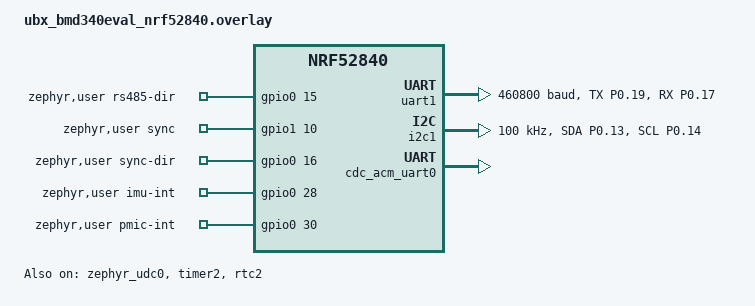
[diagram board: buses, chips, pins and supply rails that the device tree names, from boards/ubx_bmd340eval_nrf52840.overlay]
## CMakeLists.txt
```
cmake_minimum_required(VERSION 3.20.0)
find_package(Zephyr REQUIRED HINTS $ENV{ZEPHYR_BASE})

project(korora)

target_include_directories(app PRIVATE
  ${CMAKE_CURRENT_SOURCE_DIR}/../shared/include
  ${CMAKE_CURRENT_SOURCE_DIR}/src
)

target_sources(app PRIVATE
  src/main.cpp
  src/debug_log.cpp
  src/timebase.cpp
  src/controller_clock.cpp
  src/rs485_bus.cpp
  src/fairy_manager.cpp
  src/ble_gateway.cpp
  src/galapagos_manager.cpp
  src/experiment.cpp
  src/control.cpp
  src/local_sensors.cpp
  ../shared/src/sdc_anchor_report.c
  ../shared/src/transport.cpp
  ../shared/src/fairy_protocol.cpp
  ../shared/src/adelie_protocol.cpp
  ../shared/src/magellan_protocol.cpp
)

target_compile_options(app PRIVATE
  -Wall
  -Wextra
  -Wshadow
  $<$<COMPILE_LANGUAGE:CXX>:-fno-exceptions>
  $<$<COMPILE_LANGUAGE:CXX>:-fno-rtti>
)

if(DEFINED FAIRY_MAX_BOARDS)
  target_compile_definitions(app PRIVATE
    FAIRY_MAX_BOARDS=${FAIRY_MAX_BOARDS}
  )
endif()

if(DEFINED FAIRY_ENABLE_DEBUG_STREAM)
  target_compile_definitions(app PRIVATE
    FAIRY_ENABLE_DEBUG_STREAM=${FAIRY_ENABLE_DEBUG_STREAM}
  )
endif()
```

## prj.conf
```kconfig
CONFIG_CPP=y
CONFIG_STD_CPP17=y
CONFIG_GLIBCXX_LIBCPP=y

# ------------------------------------------------------------
# Console / USB CDC ACM
# ------------------------------------------------------------
CONFIG_SERIAL=y
CONFIG_CONSOLE=y
CONFIG_UART_CONSOLE=y
CONFIG_UART_LINE_CTRL=y
CONFIG_PRINTK=y
CONFIG_USB_DEVICE_STACK=y
CONFIG_USB_CDC_ACM=y
CONFIG_USB_DEVICE_INITIALIZE_AT_BOOT=y

# ------------------------------------------------------------
# Bluetooth
# ------------------------------------------------------------
CONFIG_BT=y
CONFIG_BT_CENTRAL=y
CONFIG_BT_PERIPHERAL=y
CONFIG_BT_DEVICE_NAME="korora"
CONFIG_BT_MAX_CONN=2
CONFIG_BT_GATT_CLIENT=y
CONFIG_BT_CTLR_SDC_PERIPHERAL_COUNT=1
CONFIG_BT_CTLR_SDC_CONN_ANCHOR_POINT_REPORT=y
CONFIG_BT_HCI_VS_EVT_USER=y
CONFIG_BT_RX_STACK_SIZE=6144
CONFIG_BT_L2CAP_TX_MTU=247
CONFIG_BT_BUF_ACL_RX_SIZE=251
CONFIG_BT_BUF_ACL_TX_SIZE=251
CONFIG_BT_BUF_ACL_TX_COUNT=16
CONFIG_BT_CTLR_DATA_LENGTH_MAX=251
CONFIG_BT_CTLR_PHY_2M=y
CONFIG_BT_USER_PHY_UPDATE=y
CONFIG_BT_USER_DATA_LEN_UPDATE=y
CONFIG_BT_BUF_EVT_RX_COUNT=17

# ------------------------------------------------------------
# Physical UART
#
# This is UART1 -> RS485 on the Floating Hub.
# USB CDC does NOT use UART1.
# ------------------------------------------------------------
CONFIG_UART_ASYNC_API=y
CONFIG_UART_1_INTERRUPT_DRIVEN=n
CONFIG_UART_1_ASYNC=y

# ------------------------------------------------------------
# I2C
# ------------------------------------------------------------
CONFIG_I2C=y

# ------------------------------------------------------------
# Adelie BLE link
# ------------------------------------------------------------
# Adelie is an interactive control and telemetry link.
# Ask the laptop central for a 7.5 to 15 ms interval with
# no peripheral latency.
CONFIG_BT_GAP_AUTO_UPDATE_CONN_PARAMS=y
CONFIG_BT_PERIPHERAL_PREF_MIN_INT=6
CONFIG_BT_PERIPHERAL_PREF_MAX_INT=12
CONFIG_BT_PERIPHERAL_PREF_LATENCY=0
CONFIG_BT_PERIPHERAL_PREF_TIMEOUT=200

# ------------------------------------------------------------
# Memory
# ------------------------------------------------------------
CONFIG_MAIN_STACK_SIZE=6144
CONFIG_SYSTEM_WORKQUEUE_STACK_SIZE=6144
CONFIG_HEAP_MEM_POOL_SIZE=4096

# ------------------------------------------------------------
# Debug
# ------------------------------------------------------------
CONFIG_ASSERT=y
CONFIG_LOG=n

# ------------------------------------------------------------
# GPIO / nrfx
# ------------------------------------------------------------
CONFIG_GPIO=n
CONFIG_NRFX_GPIOTE=y
CONFIG_NRFX_GPIOTE_NUM_OF_EVT_HANDLERS=2
CONFIG_NRFX_GPPI=y
CONFIG_NRFX_TIMER=y
CONFIG_NRFX_RTC=y

# ------------------------------------------------------------
# Clock
#
# Floating Hub does NOT have the BMD-340-EVAL carrier's
# external 32.768 kHz crystal.
# ------------------------------------------------------------
CONFIG_CLOCK_CONTROL=y
CONFIG_CLOCK_CONTROL_NRF=y
CONFIG_CLOCK_CONTROL_NRF_K32SRC_RC=y
CONFIG_CLOCK_CONTROL_NRF_K32SRC_500PPM=y
CONFIG_CLOCK_CONTROL_NRF_K32SRC_RC_CALIBRATION=y
```

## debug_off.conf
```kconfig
CONFIG_CONSOLE=n
CONFIG_UART_CONSOLE=n
CONFIG_PRINTK=n
```

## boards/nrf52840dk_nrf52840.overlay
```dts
#include <zephyr/dt-bindings/gpio/gpio.h>
#include <zephyr/dt-bindings/i2c/i2c.h>
#include <zephyr/dt-bindings/pinctrl/nrf-pinctrl.h>

/ {
    zephyr,user {
        sync-gpios = <&gpio1 10 GPIO_ACTIVE_LOW>;
    };
};

&pinctrl {
    fairy_uart1_default: fairy_uart1_default {
        group1 {
            psels = <NRF_PSEL(UART_TX, 0, 27)>;
        };

        group2 {
            psels = <NRF_PSEL(UART_RX, 0, 26)>;
            bias-pull-up;
        };
    };

    fairy_uart1_sleep: fairy_uart1_sleep {
        group1 {
            psels = <NRF_PSEL(UART_TX, 0, 27)>,
                    <NRF_PSEL(UART_RX, 0, 26)>;
            low-power-enable;
        };
    };

    korora_i2c1_default: korora_i2c1_default {
        group1 {
            psels = <NRF_PSEL(TWIM_SDA, 0, 30)>,
                    <NRF_PSEL(TWIM_SCL, 0, 31)>;
        };
    };

    korora_i2c1_sleep: korora_i2c1_sleep {
        group1 {
            psels = <NRF_PSEL(TWIM_SDA, 0, 30)>,
                    <NRF_PSEL(TWIM_SCL, 0, 31)>;
            low-power-enable;
        };
    };
};

&uart1 {
    compatible = "nordic,nrf-uarte";
    status = "okay";
    current-speed = <460800>;
    pinctrl-0 = <&fairy_uart1_default>;
    pinctrl-1 = <&fairy_uart1_sleep>;
    pinctrl-names = "default", "sleep";
};

/*
 * The DK's normal i2c0 mapping uses P0.26/P0.27, which are already the
 * working Fairy UART pins above. Keep that controller disabled.
 */
&i2c0 {
    status = "disabled";
};

/* i2c1 and spi1 share the same nRF peripheral instance on this DK. */
&spi1 {
    status = "disabled";
};

&i2c1 {
    compatible = "nordic,nrf-twim";
    status = "okay";
    clock-frequency = <I2C_BITRATE_STANDARD>;
    pinctrl-0 = <&korora_i2c1_default>;
    pinctrl-1 = <&korora_i2c1_sleep>;
    pinctrl-names = "default", "sleep";
};

&timer2 {
    status = "okay";
};

&timer3 {
    status = "disabled";
};

&rtc2 {
    status = "okay";
};
```

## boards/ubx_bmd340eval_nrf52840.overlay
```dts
#include <zephyr/dt-bindings/gpio/gpio.h>
#include <zephyr/dt-bindings/i2c/i2c.h>
#include <zephyr/dt-bindings/pinctrl/nrf-pinctrl.h>

/ {
    chosen {
        zephyr,console = &cdc_acm_uart0;
        zephyr,shell-uart = &cdc_acm_uart0;
        zephyr,uart-mcumgr = &cdc_acm_uart0;
    };

    zephyr,user {
        /* SN65HVD75 RS485 direction */
        rs485-dir-gpios = <&gpio0 15 GPIO_ACTIVE_HIGH>;

        /* Sync output */
        sync-gpios = <&gpio1 10 GPIO_ACTIVE_HIGH>;
        sync-dir-gpios = <&gpio0 16 GPIO_ACTIVE_HIGH>;

        /* MMC5983MA interrupt */
        imu-int-gpios = <&gpio0 28 GPIO_ACTIVE_HIGH>;

        /* nPM1300 interrupt */
        pmic-int-gpios = <&gpio0 30 GPIO_ACTIVE_HIGH>;

    };

    /**
     * These belong to the physical BMD-340-EVAL board,
     * not your Floating Hub.
     */
    leds {
        status = "disabled";
    };

    pwmleds {
        status = "disabled";
    };

    buttons {
        status = "disabled";
    };
};

&pinctrl {
    /**
     * RS485 UART
     *
     * P0.19 -> RS485_TX
     * P0.17 <- RS485_RX
     */
    floating_uart1_default: floating_uart1_default {
        group1 {
            psels = <NRF_PSEL(UART_TX, 0, 19)>;
        };

        group2 {
            psels = <NRF_PSEL(UART_RX, 0, 17)>;
            bias-pull-up;
        };
    };

    floating_uart1_sleep: floating_uart1_sleep {
        group1 {
            psels = <NRF_PSEL(UART_TX, 0, 19)>,
                    <NRF_PSEL(UART_RX, 0, 17)>;
            low-power-enable;
        };
    };

    /**
     * HOST I2C
     *
     * P0.13 -> HOST_SDA
     * P0.14 -> HOST_SCL
     */
    floating_i2c1_default: floating_i2c1_default {
        group1 {
            psels = <NRF_PSEL(TWIM_SDA, 0, 13)>,
                    <NRF_PSEL(TWIM_SCL, 0, 14)>;
        };
    };

    floating_i2c1_sleep: floating_i2c1_sleep {
        group1 {
            psels = <NRF_PSEL(TWIM_SDA, 0, 13)>,
                    <NRF_PSEL(TWIM_SCL, 0, 14)>;
            low-power-enable;
        };
    };
};

/**
 * Hardware UART -> RS485 transceiver
 */
&uart1 {
    compatible = "nordic,nrf-uarte";
    status = "okay";
    current-speed = <460800>;
    pinctrl-0 = <&floating_uart1_default>;
    pinctrl-1 = <&floating_uart1_sleep>;
    pinctrl-names = "default", "sleep";
};

/**
 * HOST I2C bus
 *
 * nPM1300 + magnetometer are physically on this bus.
 */
&i2c1 {
    compatible = "nordic,nrf-twim";
    status = "okay";
    clock-frequency = <I2C_BITRATE_STANDARD>;
    pinctrl-0 = <&floating_i2c1_default>;
    pinctrl-1 = <&floating_i2c1_sleep>;
    pinctrl-names = "default", "sleep";
};

/**
 * Peripheral conflicts inherited from BMD-340-EVAL.
 */
&uart0 {
    status = "disabled";
};
&i2c0 {
    status = "disabled";
};
&spi1 {
    status = "disabled";
};
&qspi {
    status = "disabled";
};
&pwm0 {
    status = "disabled";
};
&spi3 {
    status = "disabled";
};

/**
 * Native USB device controller.
 *
 * D+ / D- are dedicated nRF52840 pins, so no pinctrl is needed.
 */
&zephyr_udc0 {
    status = "okay";

    cdc_acm_uart0: cdc_acm_uart0 {
        compatible = "zephyr,cdc-acm-uart";
    };
};

&timer2 {
    status = "okay";
};
&timer3 {
    status = "disabled";
};
&rtc2 {
    status = "okay";
};
```

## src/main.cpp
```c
#include <zephyr/kernel.h>

#include "ble_gateway.hpp"
#include "control.hpp"
#include "debug_log.hpp"
#include "experiment.hpp"
#include "fairy_manager.hpp"
#include "galapagos_manager.hpp"
#include "local_sensors.hpp"
#include "rs485_bus.hpp"
#include "timebase.hpp"

namespace {

bool start_component(const char *name, int result) {
  korora_debug::log("START component=%s status=%d\r\n", name, result);
  return result == 0;
}

} // namespace

int main() {
  if (!start_component("timebase", korora_time::initialize()) ||
      !start_component("rs485", korora_rs485::initialize())) {
    return 1;
  }

  korora_galapagos::initialize();
  korora_control::initialize();
  korora_experiment::initialize();

  if (!start_component("fairies", korora_fairies::initialize()) ||
      !start_component("ble", korora_ble::initialize())) {
    return 1;
  }

  // Local sensors deliberately start after BLE so their Fairy telemetry has a
  // transport available immediately. Sensor absence is reported as status and
  // does not make Korora unusable as a communications hub.
  if (!start_component("local_sensors", korora_local_sensors::initialize())) {
    return 1;
  }

  // D3 is driven by nPM1300 LED0 and is reserved as a trustworthy
  // firmware-owned "all startup stages completed" indicator.
  if (!korora_local_sensors::set_ready_led(true)) {
    korora_debug::log("READY_LED unavailable\r\n");
  }

  korora_debug::log(
      "READY transport=1 fairy=3 adelie=2 magellan=1 timer_hz=16000000 "
      "sync_hz=4\r\n");
  while (true) {
    k_sleep(K_SECONDS(60));
  }
  return 0;
}
```

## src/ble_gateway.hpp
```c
#pragma once

#include <cstddef>
#include <cstdint>

#include "fairy_shared/transport.hpp"

namespace korora_ble {

int initialize();

// Use diagnostic_priority for time-critical Fairy records. They share the
// reserved Adelie event queue and can preempt bulk telemetry between fragments.
bool send_to_adelie(std::uint8_t source, fairy::transport::Channel channel,
                    const std::uint8_t *payload, std::size_t payload_length,
                    std::uint16_t transfer_id = 0, std::uint8_t flags = 0,
                    std::uint64_t command_receive_ticks = 0,
                    bool diagnostic_priority = false);

bool send_to_galapagos(fairy::transport::Channel channel,
                       const std::uint8_t *payload, std::size_t payload_length,
                       std::uint16_t transfer_id = 0,
                       std::uint8_t flags = fairy::transport::ack_required);

bool adelie_connected();
bool galapagos_connected();
std::int8_t galapagos_rssi();
std::uint32_t dropped_to_adelie();
std::uint32_t dropped_to_galapagos();

} // namespace korora_ble
```

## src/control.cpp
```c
#include "control.hpp"

#include <array>
#include <cstring>

#include <zephyr/kernel.h>
#include <zephyr/sys/atomic.h>

#include "ble_gateway.hpp"
#include "experiment.hpp"
#include "fairy_manager.hpp"
#include "fairy_shared/adelie_protocol.hpp"
#include "fairy_shared/fairy_protocol.hpp"
#include "fairy_shared/system_config.hpp"
#include "fairy_shared/tlv.hpp"
#include "galapagos_manager.hpp"
#include "local_sensors.hpp"
#include "rs485_bus.hpp"
#include "timebase.hpp"

namespace korora_control {
namespace {

inline constexpr std::uint32_t diagnostic_session = 0x53594E43U;

atomic_t session_id;
bool diagnostic_session_active;
k_mutex control_mutex;

bool command_u8(const fairy::protocol::AdelieMessageView &message,
                fairy::protocol::CommandField wanted, std::uint8_t &value) {
  fairy::protocol::TlvReader reader(message.payload,
                                    message.header.payload_length);
  fairy::protocol::FieldView field;
  while (reader.next(field)) {
    if (field.tag == static_cast<std::uint16_t>(wanted)) {
      return fairy::protocol::TlvReader::as_u8(field, value);
    }
  }
  return false;
}

bool command_u32(const fairy::protocol::AdelieMessageView &message,
                 fairy::protocol::CommandField wanted, std::uint32_t &value) {
  fairy::protocol::TlvReader reader(message.payload,
                                    message.header.payload_length);
  fairy::protocol::FieldView field;
  while (reader.next(field)) {
    if (field.tag == static_cast<std::uint16_t>(wanted)) {
      return fairy::protocol::TlvReader::as_u32(field, value);
    }
  }
  return false;
}

bool command_bytes(const fairy::protocol::AdelieMessageView &message,
                   fairy::protocol::CommandField wanted,
                   const std::uint8_t *&value, std::size_t &length) {
  fairy::protocol::TlvReader reader(message.payload,
                                    message.header.payload_length);
  fairy::protocol::FieldView field;
  while (reader.next(field)) {
    if (field.tag == static_cast<std::uint16_t>(wanted) &&
        field.type == fairy::protocol::ValueType::bytes) {
      value = field.value;
      length = field.length;
      return true;
    }
  }
  return false;
}

void send_response(const fairy::protocol::AdelieMessageView &command,
                   fairy::protocol::Status status, std::uint16_t transfer_id,
                   const std::uint8_t *payload = nullptr,
                   std::size_t payload_length = 0,
                   std::uint64_t receive_ticks = 0) {
  fairy::protocol::MessageHeader header = command.header;
  header.kind = fairy::protocol::MessageKind::response;
  header.status = status;
  header.flags = 0;
  header.execute_at_ticks = 0;
  header.payload_length = 0;
  std::uint8_t response[fairy::protocol::adelie_max_message_size]{};
  const std::size_t length = fairy::protocol::encode_adelie(
      header, payload, payload_length, response, sizeof(response));
  if (length != 0U) {
    (void)korora_ble::send_to_adelie(fairy::config::korora_address,
                                     fairy::transport::Channel::adelie,
                                     response, length, transfer_id,
                                     fairy::transport::response, receive_ticks);
  }
}

std::size_t make_session_command(fairy::protocol::Opcode opcode,
                                 std::uint32_t session,
                                 std::uint8_t *destination,
                                 std::size_t capacity) {
  fairy::protocol::MessageHeader header;
  header.opcode = opcode;
  header.flags =
      fairy::protocol::require_response | fairy::protocol::execute_immediately;
  header.command_id =
      static_cast<std::uint32_t>(korora_time::now() & 0xFFFF'FFFFULL);
  header.session_id = session;
  header.deadline_ms = 2000;
  return fairy::protocol::encode_adelie(header, nullptr, 0, destination,
                                        capacity);
}

void propagate_session(fairy::protocol::Opcode opcode, std::uint32_t session) {
  std::uint8_t message[fairy::protocol::adelie_max_message_size]{};
  const std::size_t length =
      make_session_command(opcode, session, message, sizeof(message));
  if (length == 0U) {
    return;
  }
  korora_fairies::queue_command_for_all(message, length);
  (void)korora_ble::send_to_galapagos(fairy::transport::Channel::adelie,
                                      message, length);
}

bool every_fairy_assigned() {
  const std::size_t total = korora_fairies::count();
  if (total == 0U) {
    return false;
  }
  for (std::size_t index = 0; index < total; ++index) {
    korora_fairies::NodeSnapshot node;
    if (!korora_fairies::snapshot(index, node) || node.logical_slot == 0xFFU) {
      return false;
    }
  }
  return true;
}

fairy::protocol::Status begin_session(std::uint32_t wanted,
                                      bool require_synchronization) {
  if (wanted == 0U || !every_fairy_assigned()) {
    return wanted == 0U ? fairy::protocol::Status::invalid_parameter
                        : fairy::protocol::Status::inventory_mismatch;
  }
  if (!korora_ble::galapagos_connected()) {
    return fairy::protocol::Status::transport_error;
  }
  if (require_synchronization) {
    for (std::size_t index = 0; index < korora_fairies::count(); ++index) {
      korora_fairies::NodeSnapshot node;
      if (!korora_fairies::snapshot(index, node) || !node.synchronized) {
        return fairy::protocol::Status::not_synchronized;
      }
    }
    if (!korora_galapagos::quality().valid) {
      return fairy::protocol::Status::not_synchronized;
    }
  }
  const std::uint32_t current =
      static_cast<std::uint32_t>(atomic_get(&session_id));
  if (current != 0U && current != wanted) {
    return fairy::protocol::Status::busy;
  }
  atomic_set(&session_id, static_cast<atomic_val_t>(wanted));
  korora_experiment::set_session(wanted);
  korora_local_sensors::set_session(wanted);
  propagate_session(fairy::protocol::Opcode::start_session, wanted);
  return fairy::protocol::Status::accepted;
}

void end_session(std::uint32_t ended) {
  korora_experiment::stop_sync_test();
  korora_experiment::stop_ttl_train();
  propagate_session(fairy::protocol::Opcode::stop_session, ended);
  korora_experiment::set_session(0);
  korora_local_sensors::set_session(0);
  atomic_clear(&session_id);
  diagnostic_session_active = false;
}

void handle_local(const fairy::protocol::AdelieMessageView &command,
                  std::uint16_t transfer_id, std::uint64_t receive_ticks) {
  fairy::protocol::Status status = fairy::protocol::Status::ok;
  std::uint8_t response_payload[fairy::protocol::adelie_max_payload]{};
  fairy::protocol::TlvWriter response_fields(response_payload,
                                             sizeof(response_payload));

  switch (command.header.opcode) {
  case fairy::protocol::Opcode::ping:
    break;

  case fairy::protocol::Opcode::get_inventory: {
    std::uint8_t inventory[fairy::config::max_fairies * 18U]{};
    const std::size_t length =
        korora_fairies::inventory_bytes(inventory, sizeof(inventory));
    if (length != 0U) {
      (void)response_fields.bytes(
          static_cast<std::uint16_t>(fairy::protocol::CommandField::uuid_list),
          inventory, static_cast<std::uint8_t>(length));
    }
    break;
  }

  case fairy::protocol::Opcode::apply_inventory: {
    const std::uint8_t *packed{};
    std::size_t length{};
    if (!command_bytes(command, fairy::protocol::CommandField::uuid_list,
                       packed, length)) {
      status = fairy::protocol::Status::invalid_parameter;
    } else {
      status = korora_fairies::apply_inventory(packed, length);
    }
    break;
  }

  case fairy::protocol::Opcode::get_health: {
    (void)response_fields.u32(
        static_cast<std::uint16_t>(fairy::protocol::Field::transport_errors),
        korora_rs485::errors());
    (void)response_fields.u32(
        static_cast<std::uint16_t>(fairy::protocol::Field::retry_count),
        korora_rs485::retries());
    (void)response_fields.i32(
        static_cast<std::uint16_t>(fairy::protocol::Field::rssi_dbm),
        korora_ble::galapagos_rssi());
    (void)response_fields.u8(
        static_cast<std::uint16_t>(fairy::protocol::Field::state),
        korora_ble::galapagos_connected() ? 1U : 0U);
    const auto sensors = korora_local_sensors::snapshot();
    (void)response_fields.u8(
        static_cast<std::uint16_t>(fairy::protocol::Field::sensor_status),
        sensors.status);
    (void)response_fields.u32(
        static_cast<std::uint16_t>(fairy::protocol::Field::sample_count),
        sensors.sample_count);
    (void)response_fields.u32(
        static_cast<std::uint16_t>(fairy::protocol::Field::sensor_i2c_errors),
        sensors.i2c_errors);
    break;
  }

  case fairy::protocol::Opcode::set_telemetry: {
    std::uint8_t raw{};
    if (!command_u8(command, fairy::protocol::CommandField::telemetry_level,
                    raw) ||
        raw >
            static_cast<std::uint8_t>(fairy::protocol::TelemetryLevel::full)) {
      status = fairy::protocol::Status::invalid_parameter;
    } else {
      const auto level = static_cast<fairy::protocol::TelemetryLevel>(raw);
      korora_fairies::set_telemetry(level);
      korora_local_sensors::set_telemetry(level);
    }
    break;
  }

  case fairy::protocol::Opcode::set_status_led: {
    std::uint8_t led_index{};
    std::uint8_t enabled{};
    if (!command_u8(command, fairy::protocol::CommandField::led_index,
                    led_index) ||
        !command_u8(command, fairy::protocol::CommandField::enabled, enabled) ||
        led_index < 1U || led_index > 2U || enabled > 1U) {
      status = fairy::protocol::Status::invalid_parameter;
    } else {
      // Protocol/UI uses schematic labels D1/D2. Hardware channels are
      // D1 -> nPM LED2 and D2 -> nPM LED1. D3/nPM LED0 is reserved READY.
      const std::uint8_t pmic_led_index = 3U - led_index;
      if (!korora_local_sensors::set_status_led(pmic_led_index,
                                                 enabled != 0U)) {
        status = fairy::protocol::Status::invalid_state;
      }
    }
    break;
  }

  case fairy::protocol::Opcode::clock_exchange:
    (void)response_fields.u64(
        static_cast<std::uint16_t>(
            fairy::protocol::CommandField::clock_t2_ticks),
        receive_ticks);
    (void)response_fields.u64(
        static_cast<std::uint16_t>(
            fairy::protocol::CommandField::clock_t3_ticks),
        korora_time::now());
    break;

  case fairy::protocol::Opcode::start_session:
    status = begin_session(command.header.session_id, true);
    break;

  case fairy::protocol::Opcode::stop_session: {
    const std::uint32_t current =
        static_cast<std::uint32_t>(atomic_get(&session_id));
    if (current != 0U && command.header.session_id != current) {
      status = fairy::protocol::Status::session_mismatch;
    } else if (current != 0U) {
      end_session(current);
    }
    break;
  }

  case fairy::protocol::Opcode::start_ttl_train: {
    std::uint32_t frequency{};
    std::uint32_t width{};
    std::uint32_t count{};
    if (!command_u32(command,
                     fairy::protocol::CommandField::ttl_frequency_millihz,
                     frequency) ||
        !command_u32(command, fairy::protocol::CommandField::ttl_width_us,
                     width)) {
      status = fairy::protocol::Status::invalid_parameter;
    } else {
      (void)command_u32(command, fairy::protocol::CommandField::ttl_count,
                        count);
      bool opened_diagnostic_session = false;
      if (atomic_get(&session_id) == 0) {
        status = begin_session(diagnostic_session, false);
        opened_diagnostic_session = status == fairy::protocol::Status::accepted;
        if (opened_diagnostic_session) {
          diagnostic_session_active = true;
        }
      }
      if (status == fairy::protocol::Status::ok ||
          status == fairy::protocol::Status::accepted) {
        if (korora_experiment::start_ttl_train(frequency, width, count)) {
          status = fairy::protocol::Status::accepted;
        } else {
          status = fairy::protocol::Status::invalid_state;
          if (opened_diagnostic_session) {
            end_session(diagnostic_session);
          }
        }
      }
    }
    break;
  }

  case fairy::protocol::Opcode::stop_ttl_train:
    korora_experiment::stop_ttl_train();
    if (diagnostic_session_active && !korora_experiment::sync_test_active()) {
      end_session(diagnostic_session);
    }
    break;

  case fairy::protocol::Opcode::start_sync_test: {
    std::uint32_t interval = 5000;
    std::uint32_t width = 100;
    (void)command_u32(command,
                      fairy::protocol::CommandField::test_command_interval_ms,
                      interval);
    (void)command_u32(command, fairy::protocol::CommandField::ttl_width_us,
                      width);
    if (atomic_get(&session_id) == 0) {
      status = begin_session(diagnostic_session, false);
      diagnostic_session_active = status == fairy::protocol::Status::accepted;
    }
    if ((status == fairy::protocol::Status::ok ||
         status == fairy::protocol::Status::accepted) &&
        !korora_experiment::start_sync_test(interval, width)) {
      status = fairy::protocol::Status::invalid_parameter;
    } else if (status == fairy::protocol::Status::ok) {
      status = fairy::protocol::Status::accepted;
    }
    break;
  }

  case fairy::protocol::Opcode::stop_sync_test:
    korora_experiment::stop_sync_test();
    if (diagnostic_session_active) {
      end_session(diagnostic_session);
    }
    break;

  default:
    status = fairy::protocol::Status::unsupported;
    break;
  }

  send_response(command, status, transfer_id, response_payload,
                response_fields.size(), receive_ticks);
}

} // namespace

void initialize() {
  k_mutex_init(&control_mutex);
  atomic_clear(&session_id);
  diagnostic_session_active = false;
}

void receive_from_adelie(const fairy::transport::MessageView &message,
                         std::uint64_t receive_ticks) {
  fairy::protocol::AdelieMessageView command;
  if (!fairy::protocol::decode_adelie(message.payload, message.payload_length,
                                      command) ||
      command.header.kind != fairy::protocol::MessageKind::command) {
    return;
  }

  k_mutex_lock(&control_mutex, K_FOREVER);
  if (message.destination == fairy::config::korora_address) {
    handle_local(command, message.transfer_id, receive_ticks);
  } else if (message.destination == fairy::config::galapagos_address) {
    if (!korora_ble::send_to_galapagos(fairy::transport::Channel::adelie,
                                       message.payload, message.payload_length,
                                       message.transfer_id, message.flags)) {
      send_response(command, fairy::protocol::Status::transport_error,
                    message.transfer_id, nullptr, 0, receive_ticks);
    }
  } else if (fairy::config::is_fairy_address(message.destination) ||
             fairy::config::is_discovery_address(message.destination)) {
    if (!korora_fairies::queue_command(message.destination, message.payload,
                                       message.payload_length,
                                       message.transfer_id)) {
      send_response(command, fairy::protocol::Status::queue_full,
                    message.transfer_id, nullptr, 0, receive_ticks);
    }
  } else if (message.destination == fairy::config::broadcast_address) {
    korora_fairies::queue_command_for_all(message.payload,
                                          message.payload_length);
    (void)korora_ble::send_to_galapagos(fairy::transport::Channel::adelie,
                                        message.payload,
                                        message.payload_length);
    send_response(command, fairy::protocol::Status::accepted,
                  message.transfer_id, nullptr, 0, receive_ticks);
  } else {
    send_response(command, fairy::protocol::Status::invalid_parameter,
                  message.transfer_id, nullptr, 0, receive_ticks);
  }
  k_mutex_unlock(&control_mutex);
}

void adelie_disconnected() {
  k_mutex_lock(&control_mutex, K_FOREVER);
  const std::uint32_t current =
      static_cast<std::uint32_t>(atomic_get(&session_id));
  if (current != 0U) {
    end_session(current);
  }
  k_mutex_unlock(&control_mutex);
}

void dependency_disconnected(const char *reason) {
  k_mutex_lock(&control_mutex, K_FOREVER);
  const std::uint32_t current =
      static_cast<std::uint32_t>(atomic_get(&session_id));
  if (current != 0U) {
    korora_experiment::publish_fault(reason);
    end_session(current);
  }
  k_mutex_unlock(&control_mutex);
}

std::uint32_t active_session() {
  return static_cast<std::uint32_t>(atomic_get(&session_id));
}

} // namespace korora_control
```

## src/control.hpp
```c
#pragma once

#include <cstdint>

#include "fairy_shared/transport.hpp"

namespace korora_control {

void initialize();
void receive_from_adelie(const fairy::transport::MessageView &message,
                         std::uint64_t receive_ticks);
void adelie_disconnected();
void dependency_disconnected(const char *reason);
std::uint32_t active_session();

} // namespace korora_control
```

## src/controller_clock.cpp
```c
#include "controller_clock.hpp"

#include <cerrno>

#include <hal/nrf_rtc.h>
#include <nrfx_rtc.h>

#include <zephyr/irq.h>
#include <zephyr/kernel.h>
#include <zephyr/sys/barrier.h>

#include "debug_log.hpp"
#include "timebase.hpp"

namespace korora_controller_clock {
namespace {

inline constexpr std::uint64_t rtc_tick_femtoseconds = 30'517'578'125ULL;
inline constexpr std::uint64_t rtc_overflow_us = 512'000'000ULL;

nrfx_rtc_t application_rtc = NRFX_RTC_INSTANCE(NRF_RTC_INST_GET(2));
volatile std::uint32_t rtc_overflows;
std::int32_t controller_offset;
fairy::time::AffineClockModel<16> bridge;
k_mutex bridge_mutex;
K_SEM_DEFINE(start_sem, 0, 1);

std::uint64_t rtc_to_us(std::uint32_t ticks) {
  return static_cast<std::uint64_t>(ticks) * rtc_tick_femtoseconds /
         1'000'000'000ULL;
}

void rtc_handler(nrf_rtc_event_t event, void *) {
  if (event == NRF_RTC_EVENT_OVERFLOW) {
    ++rtc_overflows;
  }
}

std::int32_t measure_offset() {
  std::uint32_t difference = (nrf_rtc_counter_get(NRF_RTC0) -
                              nrf_rtc_counter_get(application_rtc.p_reg)) &
                             0x00FF'FFFFU;
  if ((difference & 0x0080'0000U) != 0U) {
    difference |= 0xFF00'0000U;
  }
  return static_cast<std::int32_t>(difference);
}

std::uint64_t controller_us() {
  std::uint32_t overflows;
  std::uint32_t ticks;
  do {
    overflows = rtc_overflows;
    barrier_isync_fence_full();
    ticks = nrf_rtc_counter_get(application_rtc.p_reg);
    barrier_isync_fence_full();
  } while (overflows != rtc_overflows);
  const std::int64_t base =
      static_cast<std::int64_t>(rtc_to_us(ticks)) +
      static_cast<std::int64_t>(overflows * rtc_overflow_us);
  const std::int64_t offset_us =
      static_cast<std::int64_t>(controller_offset) *
      static_cast<std::int64_t>(rtc_tick_femtoseconds) / 1'000'000'000LL;
  const std::int64_t result = base + offset_us;
  return result < 0 ? 0U : static_cast<std::uint64_t>(result);
}

void sample_thread(void *, void *, void *) {
  k_sem_take(&start_sem, K_FOREVER);
  while (true) {
    k_sleep(K_MSEC(250));
    const std::uint64_t before = korora_time::now();
    const std::uint64_t controller_ticks = controller_us() * 16ULL;
    const std::uint64_t after = korora_time::now();
    if (after < before || after - before > 32'000ULL) {
      continue;
    }
    const std::uint64_t midpoint = before + (after - before) / 2ULL;
    k_mutex_lock(&bridge_mutex, K_FOREVER);
    (void)bridge.add(controller_ticks, midpoint);
    k_mutex_unlock(&bridge_mutex);
  }
}

K_THREAD_DEFINE(sample_thread_id, 1536, sample_thread, nullptr, nullptr,
                nullptr, 8, 0, 0);

} // namespace

int initialize() {
  k_mutex_init(&bridge_mutex);
  bridge.set_admission(3200.0, 6.0, 3);
  nrfx_rtc_config_t config = NRFX_RTC_DEFAULT_CONFIG;
  int error = nrfx_rtc_init(&application_rtc, &config, rtc_handler);
  if (error != 0) {
    return error;
  }
  IRQ_CONNECT(NRFX_IRQ_NUMBER_GET(NRF_RTC_INST_GET(2)), IRQ_PRIO_LOWEST,
              nrfx_rtc_irq_handler, &application_rtc, 0);
  nrfx_rtc_overflow_enable(&application_rtc, true);
  nrfx_rtc_tick_enable(&application_rtc, false);
  nrfx_rtc_enable(&application_rtc);

  for (unsigned int attempt = 0; attempt < 10; ++attempt) {
    const std::int32_t first = measure_offset();
    k_busy_wait(15);
    const std::int32_t second = measure_offset();
    if (first == second) {
      controller_offset = first;
      k_sem_give(&start_sem);
      return 0;
    }
  }
  return -EIO;
}

bool to_korora(std::uint64_t controller_ticks, std::uint64_t &korora_ticks) {
  const std::uint64_t raw_us = controller_ticks / 16ULL;
  const std::uint64_t near_us = controller_us();
  std::uint64_t extended_us =
      (near_us & ~0xFFFF'FFFFULL) | (raw_us & 0xFFFF'FFFFULL);
  if (extended_us + 0x8000'0000ULL < near_us) {
    extended_us += 0x1'0000'0000ULL;
  } else if (extended_us > near_us + 0x8000'0000ULL &&
             extended_us >= 0x1'0000'0000ULL) {
    extended_us -= 0x1'0000'0000ULL;
  }
  k_mutex_lock(&bridge_mutex, K_FOREVER);
  const bool result = bridge.predict(extended_us * 16ULL, korora_ticks);
  k_mutex_unlock(&bridge_mutex);
  return result;
}

fairy::time::ClockQuality quality() {
  k_mutex_lock(&bridge_mutex, K_FOREVER);
  const auto result = bridge.quality();
  k_mutex_unlock(&bridge_mutex);
  return result;
}

} // namespace korora_controller_clock
```

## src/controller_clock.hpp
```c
#pragma once

#include <cstdint>

#include "fairy_shared/clock_model.hpp"

namespace korora_controller_clock {

int initialize();
bool to_korora(std::uint64_t controller_ticks, std::uint64_t &korora_ticks);
fairy::time::ClockQuality quality();

} // namespace korora_controller_clock
```

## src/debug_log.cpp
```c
#include "debug_log.hpp"

#include <cstdarg>

#include <zephyr/kernel.h>
#include <zephyr/sys/printk.h>

#include "fairy_shared/system_config.hpp"

namespace korora_debug {
namespace {

struct Line {
  char text[224];
};

K_MSGQ_DEFINE(lines, sizeof(Line), 24, 4);

void thread(void *, void *, void *) {
  Line line;
  while (true) {
    k_msgq_get(&lines, &line, K_FOREVER);
#if FAIRY_ENABLE_DEBUG_STREAM
    printk("%s", line.text);
#endif
  }
}

K_THREAD_DEFINE(debug_thread_id, 1536, thread, nullptr, nullptr, nullptr, 10, 0,
                0);

} // namespace

void log(const char *format, ...) {
#if FAIRY_ENABLE_DEBUG_STREAM
  Line line{};
  va_list arguments;
  va_start(arguments, format);
  const int length = vsnprintk(line.text, sizeof(line.text), format, arguments);
  va_end(arguments);
  if (length > 0 && length < static_cast<int>(sizeof(line.text))) {
    (void)k_msgq_put(&lines, &line, K_NO_WAIT);
  }
#else
  (void)format;
#endif
}

} // namespace korora_debug
```

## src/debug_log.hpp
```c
#pragma once

namespace korora_debug {

void log(const char *format, ...);

} // namespace korora_debug
```

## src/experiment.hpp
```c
#pragma once

#include <cstdint>

#include "fairy_shared/adelie_protocol.hpp"

namespace korora_experiment {

void initialize();
void adelie_connected();
void publish_fault(const char *reason);
void set_session(std::uint32_t session_id);

bool start_ttl_train(std::uint32_t frequency_millihz, std::uint32_t width_us,
                     std::uint32_t count);
void stop_ttl_train();

bool start_sync_test(std::uint32_t command_interval_ms, std::uint32_t width_us);
void stop_sync_test();
bool sync_test_active();

void note_galapagos_ttl(std::uint32_t sequence,
                        std::uint64_t local_actual_ticks,
                        std::uint64_t korora_actual_ticks);
void note_galapagos_ttl_status(std::uint32_t sequence,
                               fairy::protocol::Status status);

void record_transport_timing(std::uint16_t transfer_id,
                             std::uint32_t command_id, std::uint16_t operation,
                             std::uint64_t receive_ticks,
                             std::uint64_t queued_ticks,
                             std::uint64_t transmit_start_ticks,
                             std::uint64_t transmit_complete_ticks,
                             std::uint16_t fragment_count,
                             std::uint16_t att_mtu);

} // namespace korora_experiment
```

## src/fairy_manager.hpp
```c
#pragma once

#include <cstddef>
#include <cstdint>

#include "fairy_shared/adelie_protocol.hpp"
#include "fairy_shared/clock_model.hpp"
#include "fairy_shared/fairy_protocol.hpp"
#include "fairy_shared/magellan_protocol.hpp"

namespace korora_fairies {

struct NodeSnapshot {
  fairy::protocol::DeviceUuid uuid{};
  std::uint8_t address{};
  std::uint8_t logical_slot{0xFF};
  std::uint32_t capabilities{};
  bool present{};
  bool synchronized{};
  fairy::time::ClockQuality clock{};
  std::uint32_t transport_errors{};
  std::uint32_t last_seen_ms{};
};

int initialize();
std::size_t count();
std::size_t inventory_bytes(std::uint8_t *destination, std::size_t capacity);

fairy::protocol::Status apply_inventory(const std::uint8_t *packed,
                                        std::size_t length);

bool queue_command(std::uint8_t destination, const std::uint8_t *message,
                   std::size_t length, std::uint16_t host_transfer_id);
void queue_command_for_all(const std::uint8_t *message, std::size_t length);

bool local_to_korora(std::uint8_t address, std::uint64_t local_ticks,
                     std::uint64_t &korora_ticks);

void set_telemetry(fairy::protocol::TelemetryLevel level);
fairy::protocol::TelemetryLevel telemetry();
bool snapshot(std::size_t index, NodeSnapshot &output);

} // namespace korora_fairies
```
